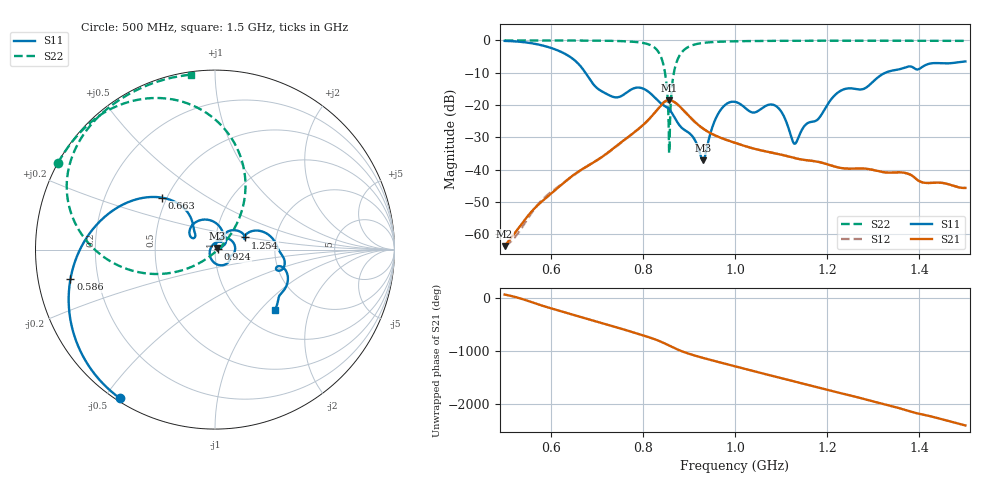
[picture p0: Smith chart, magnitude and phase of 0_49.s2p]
! TOUCHSTONE file generated by CST MICROWAVE STUDIO
! Date and time: Mon Sep 28 15:36:20 2020
! Project name: Scenario_1_Free_SPace.cst
! Parameters = {dx1=1004.6; L_HA=400; MT=2.54; Rad_Dielectric=30; Rad_Lower=7.3; Rad_Upper=30; a_HA=580; a_WG=246; b_HA=500; b_WG=121; c_HA=0; c_WG=187; d_feed=85; h_feed=15; h_lower=18; h_upper=40}
! Header version: 2018
! Port assignment regex: !\s*Touchstone port\s*([0-9]+)\s*=\s*(CST MWS port|CST DS port)\s*([0-9]+|Zmin|Zmax)\s*\(\"(.*)\"\)(\s*mode\s*([0-9]+))?.*
! Touchstone port assignment:
! Touchstone port 1 = CST MWS port 1 ("")
! Touchstone port 2 = CST MWS port 2 ("")
# GHz S DB R 50
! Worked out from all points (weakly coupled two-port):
!   1003 points, 500 MHz to 1.5 GHz, reference 50 ohm
!   highest |S21| = -18.48 dB at 857 MHz (marker M1); lowest = -63.6 dB at 500 MHz (marker M2)
!   lowest |S11| = -37.1 dB at 931 MHz (marker M3), VSWR 1.03, Z = 51 + j0.984 ohm
!   |S11| at or under -10 dB: 675.5 MHz to 1.326 GHz (650.7 MHz wide, 65 % of centre)
!   |S22| runs from -34.9 to 0.0 dB; largest |S21 - S12| = 0.001
!   S11 on the Smith chart (normalised r, x): 500 MHz: 0.01, -0.55; 586 MHz: 0.10, -0.10; 663 MHz: 0.47, +0.33; 924 MHz: 1.04, +0.01; 1.254 GHz: 1.39, +0.19; 1.5 GHz: 1.40, -1.21
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0.5  -0.15 -122.5  -63.58 65.1  -63.63 65.7  -0.01 151.1
0.586  -1.70 -168.4  -49.17 -157.4  -48.66 -155.6  -0.02 145.2
0.663  -7.68 135.5  -40.30 6.9  -40.39 6.9  -0.04 138.7
0.667  -8.36 132.7  -39.94 -3.5  -40.00 -3.5  -0.04 138.3
0.731  -17.22 142.8  -33.93 -165.6  -34.07 -165.1  -0.13 130.5
0.779  -14.89 140.7  -28.71 70.3  -28.70 70.3  -0.41 120.5
0.834  -18.80 70.6  -20.95 -88.0  -20.93 -88.2  -3.60 84.3
0.847  -20.24 58.5  -19.00 -138.1  -18.94 -138.4  -9.08 61.5
0.857  -21.28 44.8  -18.48 179.0  -18.47 179.1  -34.89 5.7
0.861  -21.99 38.6  -18.56 161.9  -18.54 162.0  -18.27 -140.0
0.867  -23.37 31.0  -18.93 137.3  -18.92 137.2  -10.28 -154.1
0.877  -25.75 24.8  -20.01 98.8  -20.04 98.9  -5.39 -170.1
0.924  -34.97 14.0  -26.55 -37.9  -26.57 -38.2  -0.91 156.5
0.931  -37.11 43.7  -27.29 -54.7  -27.31 -55.0  -0.76 154.1
0.963  -22.79 59.8  -29.77 -128.9  -29.77 -128.8  -0.42 146.1
1  -19.00 0.1  -31.67 146.7  -31.67 146.6  -0.26 140.2
1.089  -20.30 -64.2  -34.95 -52.7  -34.97 -52.6  -0.13 130.6
1.129  -31.94 158.3  -36.38 -142.0  -36.37 -142.1  -0.11 127.2
1.167  -25.16 49.4  -37.25 135.1  -37.20 135.3  -0.10 124.1
1.254  -14.84 22.0  -39.65 -52.5  -39.65 -52.4  -0.08 117.5
1.334  -9.58 9.2  -40.89 127.2  -40.89 127.2  -0.09 111.4
1.5  -6.50 -44.8  -45.63 107.9  -45.56 107.7  -0.14 97.8
